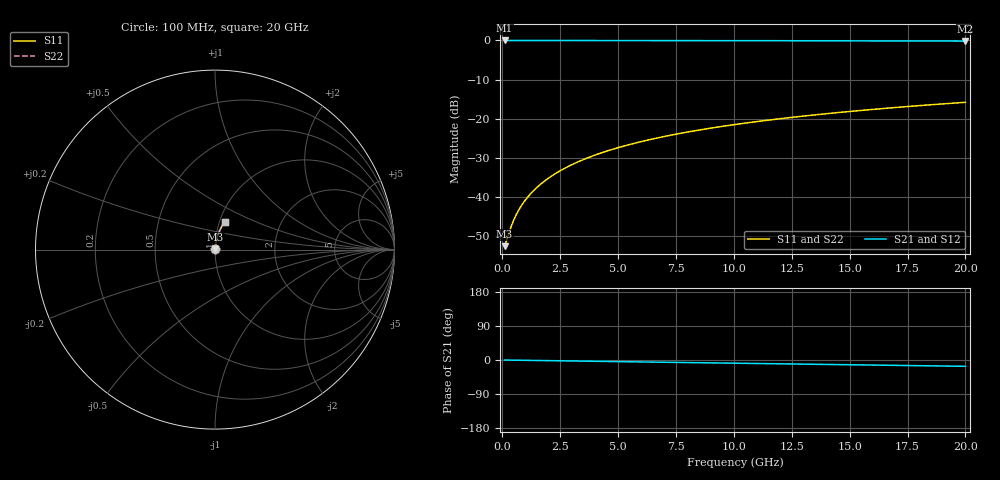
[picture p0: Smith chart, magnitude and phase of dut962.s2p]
! Touchstone file exported from HFSS 2026.1.0
!  File:  C:/ffzhzh/LocalFiles/Ansys_Project_Files/temp_train_TMRDL_962_1783158885_18472.aedt
!  Generated:  05:56:02 PM Jul  4, 2026
!  Design:  TMRDL
!  Project:  temp_train_TMRDL_962_1783158885_18472
! Variables:
!  h_bsmrdl = 2um
!  h_ox = 20um
!  h_rdl = 5um
!  h_sub = 80um
!  h_tmrdl = 2.8um
!  h_tsv = 80um
!  h_via = 3um
!  l_bsmrdl = 300um
!  l_sub = 624.83um
!  l_tmrdl = 224.83um
!  m_sub = 200um
!  pitch = 30.84um
!  r_tsv = 6um
!  s_tmrdl = 10um
!  w_bsmrdl = 18um
!  w_sub = 500um
!  w_tmrdl = 14.54um
!  x_tsv_center1 = 232.1um
!  x_tsv_center2 = 550.1um
!  x_tsv_center3 = 789.47um
!  x_tsv_center4 = 1107.47um
!  x_tsv_center5 = 1346.84um
!  x_tsv_center6 = 1664.84um
# GHz S MA R 50.000000
! Terminal data exported
! Port[1] = TM_RDL1_1_T1
! Port[2] = TM_RDL1_1_T2
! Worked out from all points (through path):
!   200 points, 100 MHz to 20 GHz, reference 50 ohm
!   highest |S21| = -0.02 dB at 100 MHz (marker M1); lowest = -0.2 dB at 20 GHz (marker M2)
!   group delay of S21, straight-line fit = 2.31 ps
!   lowest |S11| = -52.5 dB at 100 MHz (marker M3), VSWR 1.00, Z = 50.2 + j0.0946 ohm
!   |S11| at or under -10 dB: start of sweep to end of sweep
!   |S22| runs from -52.5 to -15.8 dB; largest |S21 - S12| = 3.5e-15
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0.1  0.002372 23.4  0.9978 -0.1  0.9978 -0.1  0.002372 23.4
! Gamma 0 0 0 0
! Port Impedance 50 0 50 0
0.4  0.004366 57.6  0.9977 -0.4  0.9977 -0.4  0.004365 57.7
0.5  0.005163 62.2  0.9976 -0.4  0.9976 -0.4  0.005163 62.2
0.6  0.005973 65.5  0.9975 -0.5  0.9975 -0.5  0.005973 65.5
0.7  0.006787 68.0  0.9975 -0.6  0.9975 -0.6  0.006787 68.0
0.9  0.008421 71.6  0.9974 -0.8  0.9974 -0.8  0.008422 71.6
1.2  0.01089 74.9  0.9973 -1.0  0.9973 -1.0  0.01089 74.9
1.4  0.01254 76.4  0.9972 -1.2  0.9972 -1.2  0.01254 76.4
1.7  0.01504 78.0  0.9972 -1.5  0.9972 -1.5  0.01504 78.0
2.2  0.01922 79.7  0.997 -1.9  0.997 -1.9  0.01922 79.7
2.8  0.02427 80.7  0.9968 -2.4  0.9968 -2.4  0.02427 80.7
3.5  0.03017 81.3  0.9965 -3.0  0.9965 -3.0  0.03017 81.3
4.2  0.03607 81.4  0.9962 -3.6  0.9962 -3.6  0.03607 81.4
5  0.04279 81.3  0.9958 -4.3  0.9958 -4.3  0.04279 81.3
5.9  0.05033 81.0  0.9952 -5.0  0.9952 -5.0  0.05033 81.0
6.8  0.05783 80.5  0.9946 -5.8  0.9946 -5.8  0.05783 80.5
8.3  0.07023 79.6  0.9934 -7.0  0.9934 -7.0  0.07023 79.6
10.1  0.08494 78.4  0.9918 -8.5  0.9918 -8.5  0.08494 78.4
11.7  0.09784 77.2  0.9902 -9.9  0.9902 -9.9  0.09784 77.2
13.4  0.1114 75.9  0.9884 -11.3  0.9884 -11.3  0.1114 75.9
16.7  0.1372 73.4  0.9844 -14.0  0.9844 -14.0  0.1372 73.4
20  0.1623 70.9  0.9799 -16.6  0.9799 -16.6  0.1623 70.9
